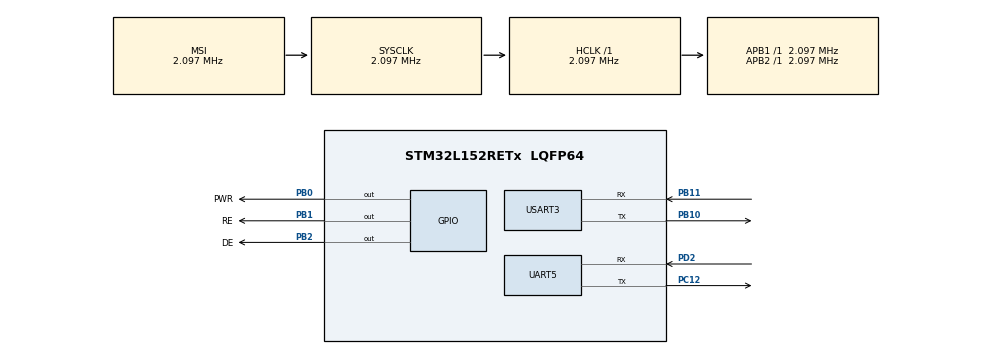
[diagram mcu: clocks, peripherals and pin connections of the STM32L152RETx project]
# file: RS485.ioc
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Mcu.Family=STM32L1
Mcu.Name=STM32L152RETx
Mcu.Package=LQFP64
NVIC.PriorityGroup=NVIC_PRIORITYGROUP_4
NVIC.UART5_IRQn=true\:0\:0\:false\:false\:true\:true\:true\:true
NVIC.USART3_IRQn=true\:0\:0\:false\:false\:true\:true\:true\:true
PA0-WKUP1.Mode=SYS_WakeUp0
PA0-WKUP1.Signal=SYS_WKUP1
PA13.Mode=Serial_Wire
PA13.Signal=SYS_JTMS-SWDIO
PA14.Mode=Serial_Wire
PA14.Signal=SYS_JTCK-SWCLK
PB0.GPIO_Label=PWR
PB0.Signal=GPIO_Output
PB1.GPIO_Label=RE
PB1.Signal=GPIO_Output
PB10.Mode=Asynchronous
PB10.Signal=USART3_TX
PB11.Mode=Asynchronous
PB11.Signal=USART3_RX
PB2.GPIO_Label=DE
PB2.Signal=GPIO_Output
PC12.Mode=Asynchronous
PC12.Signal=UART5_TX
PD2.GPIO_PuPd=GPIO_PULLUP
PD2.GPIO_Speed=GPIO_SPEED_FREQ_VERY_HIGH
PD2.Mode=Asynchronous
PD2.Signal=UART5_RX
ProjectManager.HeapSize=0x200
ProjectManager.StackSize=0x400
ProjectManager.TargetToolchain=STM32CubeIDE
RCC.AHBFreq_Value=2097000
RCC.APB1Freq_Value=2097000
RCC.APB2Freq_Value=2097000
RCC.HSE_VALUE=24000000
RCC.HSI_VALUE=16000000
RCC.LSE_VALUE=32768
RCC.MSI_VALUE=2097000
RCC.SYSCLKFreq_VALUE=2097000
RCC.VCOOutputFreq_Value=48000000
UART5.VirtualMode=Asynchronous
USART3.VirtualMode=VM_ASYNC
board=custom

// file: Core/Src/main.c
/* USER CODE BEGIN Header */
/**
 ******************************************************************************
 * @file           : main.c
 * @brief          : Main program body
 ******************************************************************************
 * @attention
 *
 * Copyright (c) 2023 STMicroelectronics.
 * All rights reserved.
 *
 * This software is licensed under terms that can be found in the LICENSE file
 * in the root directory of this software component.
 * If no LICENSE file comes with this software, it is provided AS-IS.
 *
 ******************************************************************************
 */
/* USER CODE END Header */
#include "main.h"

/* USER CODE BEGIN Includes */
#include "rs485.h"

#include <stdio.h>
#include <string.h>

#define RE_GPIO RE_GPIO_Port, RE_Pin
#define DE_GPIO DE_GPIO_Port, DE_Pin

#define POWER_GPIO PWR_GPIO_Port, PWR_Pin

/* USER CODE END Includes */

/* USER CODE BEGIN PM */
static inline void EWG_enableTransmitMode() {

	HAL_GPIO_WritePin(DE_GPIO, GPIO_PIN_SET);
	HAL_GPIO_WritePin(RE_GPIO, GPIO_PIN_SET);
}

static inline void EWG_enableReciveMode() {

	HAL_GPIO_WritePin(DE_GPIO, GPIO_PIN_RESET);
	HAL_GPIO_WritePin(RE_GPIO, GPIO_PIN_RESET);
}

static inline void EWG_shutdownMode() {

	HAL_GPIO_WritePin(RE_GPIO, GPIO_PIN_SET);
	HAL_GPIO_WritePin(DE_GPIO, GPIO_PIN_SET);
}

static inline void EWG_powerEnable() {

	HAL_GPIO_WritePin(POWER_GPIO, GPIO_PIN_SET);
	HAL_Delay(3000);
}

static inline void EWG_powerDisable() {

	HAL_GPIO_WritePin(POWER_GPIO, GPIO_PIN_RESET);
}
/* USER CODE END PM */

UART_HandleTypeDef huart5;
UART_HandleTypeDef huart3;

void SystemClock_Config(void);
static void MX_GPIO_Init(void);
static void MX_USART3_UART_Init(void);
static void MX_UART5_Init(void);
/* USER CODE BEGIN PFP */
#define RX_BUFFER_SIZE 64

uint8_t rxBuffer[RX_BUFFER_SIZE];

char *data = "Hello, UART TEST OK! \r\n";

uint8_t rx_data;
uint8_t tx_data[20] = "STM32 Hello Man!!\r\n";

void HAL_UARTEx_RxEventCallback(UART_HandleTypeDef *huart, uint16_t Size) {
	if (huart->Instance == UART5) {
		HAL_UART_Transmit(&huart5, (uint8_t*) data, strlen(data), 100);
		HAL_UARTEx_ReceiveToIdle_IT(&huart5, (uint8_t*) rxBuffer, 1);
	}
	if (huart->Instance == USART3) {
		EWG_enableTransmitMode();
		HAL_UART_Transmit(&huart5, (uint8_t*) data, strlen(data), 100);
		HAL_UART_Transmit(&huart3, (uint8_t*) data, strlen(data), 100);
		EWG_enableReciveMode();
		HAL_UARTEx_ReceiveToIdle_IT(&huart5, (uint8_t*) rxBuffer, 1);
		HAL_UARTEx_ReceiveToIdle_IT(&huart3, (uint8_t*) rxBuffer, 1);
	}
}

/* USER CODE END PFP */

int main(void) {

	/* MCU Configuration--------------------------------------------------------*/

	/* Reset of all peripherals, Initializes the Flash interface and the Systick. */
	HAL_Init();

	/* Configure the system clock */
	SystemClock_Config();

	/* Initialize all configured peripherals */
	MX_GPIO_Init();
	MX_USART3_UART_Init();
	MX_UART5_Init();
	/* USER CODE BEGIN 2 */
	EWG_powerEnable();

	EWG_enableTransmitMode();
	HAL_UART_Transmit(&huart5, (uint8_t*) data, strlen(data), 100);
	HAL_UARTEx_ReceiveToIdle_IT(&huart5, (uint8_t*) rxBuffer, 1);
	HAL_UART_Transmit(&huart3, (uint8_t*) data, strlen(data), 100);
	HAL_UARTEx_ReceiveToIdle_IT(&huart3, (uint8_t*) rxBuffer, 1);
	EWG_enableReciveMode();
	/* USER CODE END 2 */

	/* Infinite loop */
	while (1) {

	}
}

void SystemClock_Config(void) {
	RCC_OscInitTypeDef RCC_OscInitStruct = { 0 };
	RCC_ClkInitTypeDef RCC_ClkInitStruct = { 0 };

	/** Configure the main internal regulator output voltage
	 */
	__HAL_PWR_VOLTAGESCALING_CONFIG(PWR_REGULATOR_VOLTAGE_SCALE1);

	/** Initializes the RCC Oscillators according to the specified parameters
	 * in the RCC_OscInitTypeDef structure.
	 */
	RCC_OscInitStruct.OscillatorType = RCC_OSCILLATORTYPE_MSI;
	RCC_OscInitStruct.MSIState = RCC_MSI_ON;
	RCC_OscInitStruct.MSICalibrationValue = 0;
	RCC_OscInitStruct.MSIClockRange = RCC_MSIRANGE_5;
	RCC_OscInitStruct.PLL.PLLState = RCC_PLL_NONE;
	if (HAL_RCC_OscConfig(&RCC_OscInitStruct) != HAL_OK) {
		Error_Handler();
	}

	/** Initializes the CPU, AHB and APB buses clocks
	 */
	RCC_ClkInitStruct.ClockType = RCC_CLOCKTYPE_HCLK | RCC_CLOCKTYPE_SYSCLK
			| RCC_CLOCKTYPE_PCLK1 | RCC_CLOCKTYPE_PCLK2;
	RCC_ClkInitStruct.SYSCLKSource = RCC_SYSCLKSOURCE_MSI;
	RCC_ClkInitStruct.AHBCLKDivider = RCC_SYSCLK_DIV1;
	RCC_ClkInitStruct.APB1CLKDivider = RCC_HCLK_DIV1;
	RCC_ClkInitStruct.APB2CLKDivider = RCC_HCLK_DIV1;

	if (HAL_RCC_ClockConfig(&RCC_ClkInitStruct, FLASH_LATENCY_0) != HAL_OK) {
		Error_Handler();
	}
}

static void MX_UART5_Init(void) {

	huart5.Instance = UART5;
	huart5.Init.BaudRate = 115200;
	huart5.Init.WordLength = UART_WORDLENGTH_8B;
	huart5.Init.StopBits = UART_STOPBITS_1;
	huart5.Init.Parity = UART_PARITY_NONE;
	huart5.Init.Mode = UART_MODE_TX_RX;
	huart5.Init.HwFlowCtl = UART_HWCONTROL_NONE;
	huart5.Init.OverSampling = UART_OVERSAMPLING_16;
	if (HAL_UART_Init(&huart5) != HAL_OK) {
		Error_Handler();
	}

}

static void MX_USART3_UART_Init(void) {

	huart3.Instance = USART3;
	huart3.Init.BaudRate = 115200;
	huart3.Init.WordLength = UART_WORDLENGTH_8B;
	huart3.Init.StopBits = UART_STOPBITS_1;
	huart3.Init.Parity = UART_PARITY_NONE;
	huart3.Init.Mode = UART_MODE_TX_RX;
	huart3.Init.HwFlowCtl = UART_HWCONTROL_NONE;
	huart3.Init.OverSampling = UART_OVERSAMPLING_16;
	if (HAL_UART_Init(&huart3) != HAL_OK) {
		Error_Handler();
	}

}

static void MX_GPIO_Init(void) {
	GPIO_InitTypeDef GPIO_InitStruct = { 0 };

	/* GPIO Ports Clock Enable */
	__HAL_RCC_GPIOA_CLK_ENABLE();
	__HAL_RCC_GPIOB_CLK_ENABLE();
	__HAL_RCC_GPIOC_CLK_ENABLE();
	__HAL_RCC_GPIOD_CLK_ENABLE();

	/*Configure GPIO pin Output Level */
	HAL_GPIO_WritePin(GPIOB, PWR_Pin | RE_Pin | DE_Pin, GPIO_PIN_RESET);

	/*Configure GPIO pins : PWR_Pin RE_Pin DE_Pin */
	GPIO_InitStruct.Pin = PWR_Pin | RE_Pin | DE_Pin;
	GPIO_InitStruct.Mode = GPIO_MODE_OUTPUT_PP;
	GPIO_InitStruct.Pull = GPIO_NOPULL;
	GPIO_InitStruct.Speed = GPIO_SPEED_FREQ_LOW;
	HAL_GPIO_Init(GPIOB, &GPIO_InitStruct);

}

void Error_Handler(void) {
	__disable_irq();
	while (1) {
	}
}
